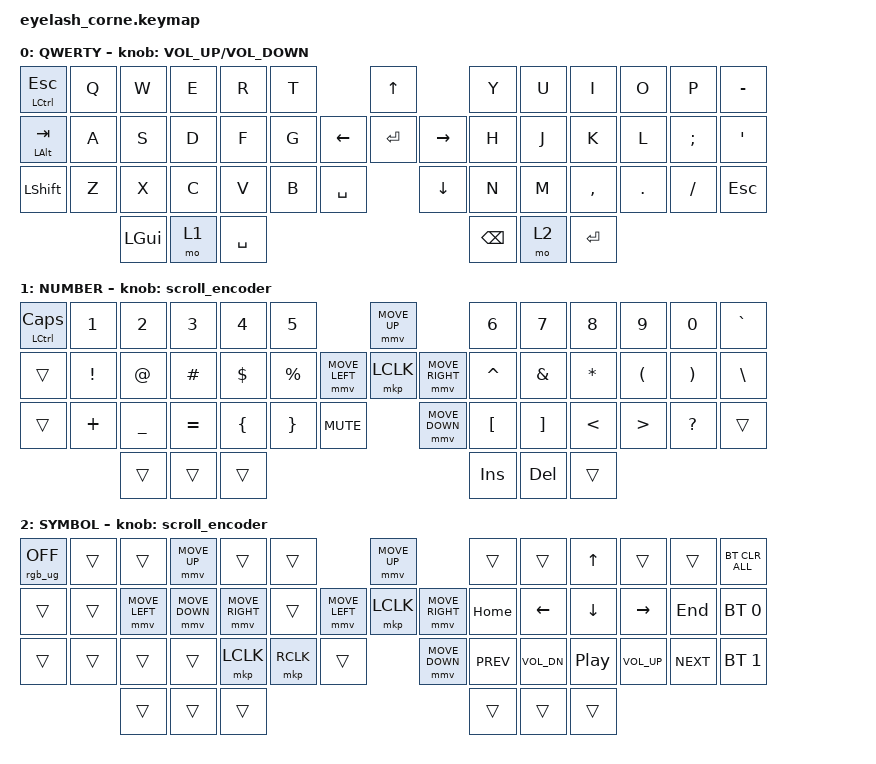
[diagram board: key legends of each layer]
#define ZMK_POINTING_DEFAULT_MOVE_VAL 1200  // 600
#define ZMK_POINTING_DEFAULT_SCRL_VAL 25   // 10

#include <input/processors.dtsi>
#include <zephyr/dt-bindings/input/input-event-codes.h>
#include <behaviors.dtsi>
#include <dt-bindings/zmk/bt.h>
#include <dt-bindings/zmk/ext_power.h>
#include <dt-bindings/zmk/keys.h>
#include <dt-bindings/zmk/outputs.h>
#include <dt-bindings/zmk/pointing.h>
#include <dt-bindings/zmk/rgb.h>

&mmv_input_listener { input-processors = <&zip_xy_scaler 2 1>; };

&msc_input_listener { input-processors = <&zip_scroll_scaler 2 1>; };

&msc {
    acceleration-exponent = <1>;      // 0
    time-to-max-speed-ms = <100>;       // 300
    delay-ms = <0>;                   // 0
};

&mmv {
    time-to-max-speed-ms = <500>;
    acceleration-exponent = <1>;
    trigger-period-ms = <16>;
};


/ {
    behaviors {
        td0: td0 {
            compatible = "zmk,behavior-tap-dance";
            display-name = "Shift/Caps Lock Tap Dance";
            #binding-cells = <0>;
            bindings = <&kp LEFT_SHIFT>, <&kp CAPS>;
        };
    };

    rgb_encoder: rgb_encoder {
        compatible = "zmk,behavior-sensor-rotate";
        #sensor-binding-cells = <0>;
        bindings = <&rgb_ug RGB_BRI>, <&rgb_ug RGB_BRD>;
    };

    scroll_encoder: scroll_encoder {
        compatible = "zmk,behavior-sensor-rotate";
        #sensor-binding-cells = <0>;
        bindings = <&msc SCRL_DOWN>, <&msc SCRL_UP>;
        tap-ms = <100>;
    };

    keymap {
        compatible = "zmk,keymap";

        default_layer {
            display-name = "QWERTY";
            bindings = <
&mt LCTRL ESC    &kp Q  &kp W      &kp E     &kp R  &kp T                              &kp UP                &kp Y        &kp U  &kp I      &kp O    &kp P     &kp MINUS
&mt LALT TAB     &kp A  &kp S      &kp D     &kp F  &kp G                    &kp LEFT  &kp ENTER  &kp RIGHT  &kp H        &kp J  &kp K      &kp L    &kp SEMI  &kp SQT
&kp LSHFT        &kp Z  &kp X      &kp C     &kp V  &kp B       &kp SPACE              &kp DOWN              &kp N        &kp M  &kp COMMA  &kp DOT  &kp FSLH  &kp ESC
                        &kp LGUI   &mo 1     &kp SPACE                                                       &kp BSPC     &mo 2  &kp RET
            >;
            sensor-bindings = <&inc_dec_kp C_VOLUME_UP C_VOLUME_DOWN>;
        };

        lower_layer {
            display-name = "NUMBER";
            bindings = <
&mt LCTRL CAPS  &kp N1         &kp N2       &kp N3        &kp N4        &kp N5                                   &mmv MOVE_UP                    &kp N6            &kp N7            &kp N8        &kp N9          &kp N0      &kp GRAVE
&trans          &kp EXCL       &kp AT       &kp HASH      &kp DLLR      &kp PRCNT                &mmv MOVE_LEFT  &mkp LCLK      &mmv MOVE_RIGHT  &kp CARET         &kp AMPS          &kp ASTRK     &kp LPAR        &kp RPAR    &kp BSLH
&trans          &kp PLUS       &kp UNDER    &kp EQUAL     &kp LBRC      &kp RBRC     &kp C_MUTE                  &mmv MOVE_DOWN                  &kp LBKT          &kp RBKT          &kp LT        &kp GT          &kp QMARK   &trans
                                            &trans        &trans        &trans                                                                   &kp INS           &kp DEL           &trans
            >;
            sensor-bindings = <&scroll_encoder>;
        };

        raise_layer {
            display-name = "SYMBOL";
            bindings = <
&rgb_ug RGB_OFF  &trans     &trans           &mmv MOVE_UP       &trans             &trans                                   &mmv MOVE_UP                     &trans     &trans       &kp UP     &trans        &trans      &bt BT_CLR_ALL
&trans           &trans     &mmv MOVE_LEFT   &mmv MOVE_DOWN     &mmv MOVE_RIGHT    &trans                   &mmv MOVE_LEFT  &mkp LCLK       &mmv MOVE_RIGHT  &kp HOME   &kp LEFT     &kp DOWN   &kp RIGHT     &kp END     &bt BT_SEL 0 
&trans           &trans     &trans           &trans             &mkp LCLK          &mkp RCLK     &trans                     &mmv MOVE_DOWN                   &kp C_PREV &kp C_VOL_DN &kp C_PP   &kp C_VOL_UP  &kp C_NEXT  &bt BT_SEL 1
                                             &trans             &trans             &trans                                                                    &trans     &trans       &trans
            >;
            sensor-bindings = <&scroll_encoder>;
        };
    };
};
